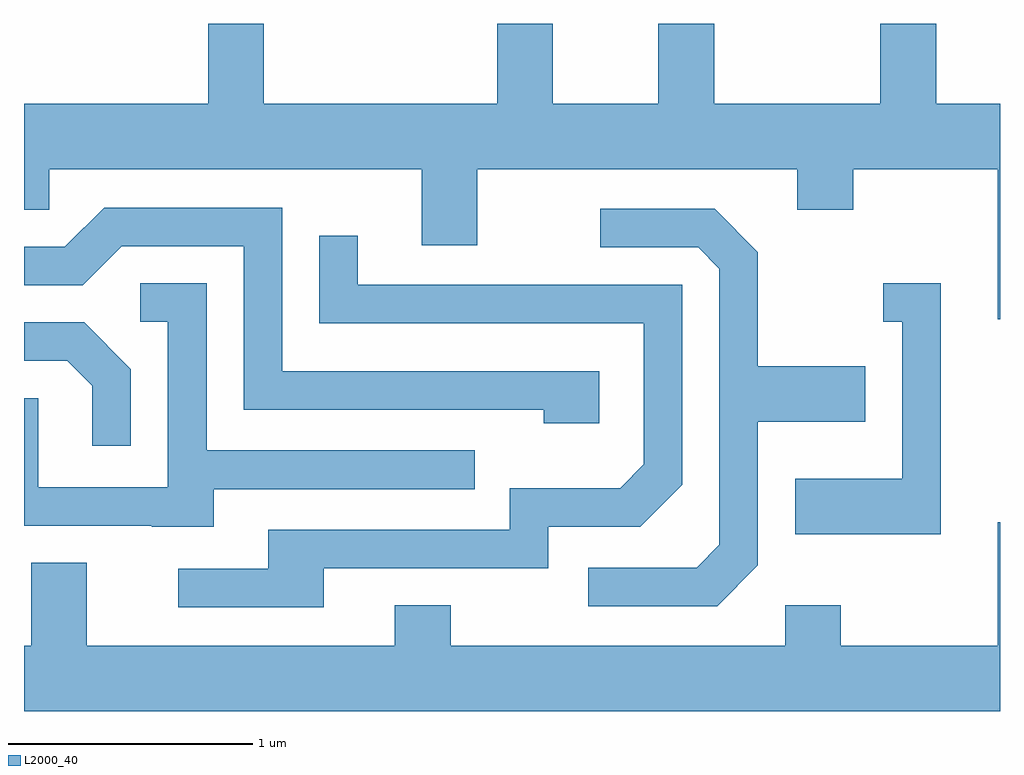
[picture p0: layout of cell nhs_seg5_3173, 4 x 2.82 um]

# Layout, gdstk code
import gdstk
lib = gdstk.Library(unit=1e-6, precision=1e-09)
def P(c, l, *ps):  # polygons
    for p in ps: c.add(gdstk.Polygon(p, *l))
L2000_40 = (2000, 40)

nhs_seg5_3173 = lib.new_cell('nhs_seg5_3173')
P(nhs_seg5_3173, L2000_40, [(283.611,1443.744),(283.349,1443.744),(283.349,1444.072),(283.121,1444.072),(283.121,1443.744),(282.439,1443.744),(282.439,1444.072),(282.211,1444.072),(282.211,1443.744),(281.779,1443.744),(281.779,1444.072),(281.551,1444.072),(281.551,1443.744),(280.594,1443.744),(280.594,1444.072),(280.366,1444.072),(280.366,1443.744),(279.611,1443.744),(279.611,1443.311),(279.714,1443.311),(279.714,1443.476),(281.241,1443.476),(281.241,1443.166),(281.469,1443.166),(281.469,1443.476),(282.781,1443.476),(282.781,1443.311),(283.009,1443.311),(283.009,1443.476),(283.601,1443.476),(283.601,1442.861),(283.611,1442.861)],
  [(281.969,1442.649),(280.669,1442.649),(280.669,1443.319),(279.939,1443.319),(279.779,1443.159),(279.611,1443.159),(279.611,1443.001),(279.852,1443.001),(280.012,1443.161),(280.511,1443.161),(280.511,1442.491),(281.741,1442.491),(281.741,1442.436),(281.969,1442.436)],
  [(282.619,1441.854),(282.619,1442.441),(283.059,1442.441),(283.059,1442.669),(282.619,1442.669),(282.619,1443.137),(282.442,1443.314),(281.973,1443.314),(281.973,1443.156),(282.374,1443.156),(282.461,1443.069),(282.461,1441.937),(282.369,1441.844),(281.923,1441.844),(281.923,1441.686),(282.452,1441.686)],
  [(280.839,1441.841),(281.759,1441.841),(281.759,1442.011),(282.137,1442.011),(282.309,1442.184),(282.309,1443.004),(280.979,1443.004),(280.979,1443.203),(280.821,1443.203),(280.821,1442.846),(282.151,1442.846),(282.151,1442.267),(282.054,1442.169),(281.601,1442.169),(281.601,1441.999),(280.611,1441.999),(280.611,1441.839),(280.243,1441.839),(280.243,1441.681),(280.839,1441.681)],
  [(283.369,1443.009),(283.133,1443.009),(283.133,1442.851),(283.211,1442.851),(283.211,1442.209),(282.771,1442.209),(282.771,1441.981),(283.369,1441.981)],
  [(280.389,1442.166),(281.458,1442.166),(281.458,1442.324),(280.359,1442.324),(280.359,1443.009),(280.088,1443.009),(280.088,1442.851),(280.201,1442.851),(280.201,1442.174),(279.669,1442.174),(279.669,1442.539),(279.611,1442.539),(279.611,1442.016),(280.135,1442.016),(280.135,1442.011),(280.389,1442.011)],
  [(280.049,1442.657),(279.857,1442.849),(279.611,1442.849),(279.611,1442.691),(279.789,1442.691),(279.891,1442.589),(279.891,1442.343),(280.049,1442.343)],
  [(283.611,1442.029),(283.601,1442.029),(283.601,1441.524),(282.959,1441.524),(282.959,1441.689),(282.731,1441.689),(282.731,1441.524),(281.359,1441.524),(281.359,1441.689),(281.131,1441.689),(281.131,1441.524),(279.869,1441.524),(279.869,1441.864),(279.641,1441.864),(279.641,1441.524),(279.611,1441.524),(279.611,1441.256),(283.611,1441.256)])

lib.write_gds('nhs_seg5_3173.gds')
